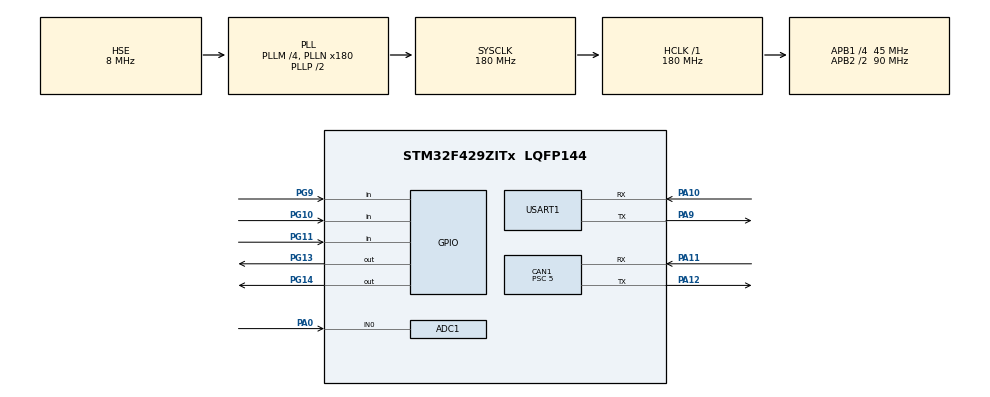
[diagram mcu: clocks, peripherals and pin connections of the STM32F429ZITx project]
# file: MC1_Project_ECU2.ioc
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ADC1.Channel-0\#ChannelRegularConversion=ADC_CHANNEL_0
ADC1.ContinuousConvMode=ENABLE
ADC1.NbrOfConversionFlag=1
ADC1.Rank-0\#ChannelRegularConversion=1
ADC1.SamplingTime-0\#ChannelRegularConversion=ADC_SAMPLETIME_3CYCLES
ADC1.master=1
CAN1.BS1=CAN_BS1_9TQ
CAN1.BS2=CAN_BS2_8TQ
CAN1.CalculateBaudRate=500000
CAN1.CalculateTimeBit=2000
CAN1.CalculateTimeQuantum=111.11111111111111
CAN1.NART=ENABLE
CAN1.Prescaler=5
Mcu.Family=STM32F4
Mcu.Name=STM32F429ZITx
Mcu.Package=LQFP144
NVIC.ADC_IRQn=true\:0\:0\:false\:false\:true\:true\:true\:true
NVIC.CAN1_RX0_IRQn=true\:0\:0\:false\:false\:true\:true\:true\:true
NVIC.CAN1_TX_IRQn=true\:0\:0\:false\:false\:true\:true\:true\:true
NVIC.PriorityGroup=NVIC_PRIORITYGROUP_4
NVIC.TIM4_IRQn=true\:0\:0\:false\:false\:true\:true\:true\:true
PA0/WKUP.Signal=ADCx_IN0
PA10.Mode=Asynchronous
PA10.Signal=USART1_RX
PA11.Mode=CAN_Activate
PA11.Signal=CAN1_RX
PA12.Mode=CAN_Activate
PA12.Signal=CAN1_TX
PA9.Mode=Asynchronous
PA9.Signal=USART1_TX
PG10.Signal=GPIO_Input
PG11.Signal=GPIO_Input
PG13.Signal=GPIO_Output
PG14.Signal=GPIO_Output
PG9.Signal=GPIO_Input
PH0/OSC_IN.Mode=HSE-External-Oscillator
PH0/OSC_IN.Signal=RCC_OSC_IN
PH1/OSC_OUT.Mode=HSE-External-Oscillator
PH1/OSC_OUT.Signal=RCC_OSC_OUT
ProjectManager.HeapSize=0x200
ProjectManager.StackSize=0x400
ProjectManager.TargetToolchain=STM32CubeIDE
RCC.48MHZClocksFreq_Value=90000000
RCC.AHBFreq_Value=180000000
RCC.APB1CLKDivider=RCC_HCLK_DIV4
RCC.APB1Freq_Value=45000000
RCC.APB1TimFreq_Value=90000000
RCC.APB2CLKDivider=RCC_HCLK_DIV2
RCC.APB2Freq_Value=90000000
RCC.APB2TimFreq_Value=180000000
RCC.CortexFreq_Value=180000000
RCC.HCLKFreq_Value=180000000
RCC.HSE_VALUE=8000000
RCC.HSI_VALUE=16000000
RCC.LSE_VALUE=32768
RCC.PLLM=4
RCC.PLLN=180
RCC.PLLSourceVirtual=RCC_PLLSOURCE_HSE
RCC.SYSCLKFreq_VALUE=180000000
RCC.SYSCLKSource=RCC_SYSCLKSOURCE_PLLCLK
RCC.VCOOutputFreq_Value=360000000
RTC.Date=2
RTC.Hours=15
RTC.Minutes=20
RTC.Month=RTC_MONTH_MARCH
RTC.Year=26
SH.ADCx_IN0.0=ADC1_IN0,IN0
TIM4.Period=9000-1
TIM4.Prescaler=10000-1
USART1.VirtualMode=VM_ASYNC
VP_RTC_VS_RTC_Activate.Mode=RTC_Enabled
VP_RTC_VS_RTC_Calendar.Mode=RTC_Calendar
VP_TIM4_VS_ClockSourceINT.Mode=Internal
board=custom

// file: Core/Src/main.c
/* USER CODE BEGIN Header */
/**
 ******************************************************************************
 * @file           : main.c
 * @brief          : Main program body
 ******************************************************************************
 * @attention
 *
 * Copyright (c) 2026 STMicroelectronics.
 * All rights reserved.
 *
 * This software is licensed under terms that can be found in the LICENSE file
 * in the root directory of this software component.
 * If no LICENSE file comes with this software, it is provided AS-IS.
 *
 ******************************************************************************
 */
/* USER CODE END Header */
#include "main.h"

/* USER CODE BEGIN Includes */
#include<stdio.h>
#include<string.h>
#define eng_rpm_id  0x400
#define time_id 0x500
#define gear_id 0x600
uint8_t adc_value;
uint8_t tim_flag;
/* USER CODE END Includes */

/* USER CODE BEGIN PM */
#define STATE  1
/* USER CODE END PM */

ADC_HandleTypeDef hadc1;

CAN_HandleTypeDef hcan1;

RTC_HandleTypeDef hrtc;

TIM_HandleTypeDef htim4;

UART_HandleTypeDef huart1;

void SystemClock_Config(void);
static void MX_GPIO_Init(void);
static void MX_ADC1_Init(void);
static void MX_RTC_Init(void);
static void MX_USART1_UART_Init(void);
static void MX_CAN1_Init(void);
static void MX_TIM4_Init(void);

/* USER CODE BEGIN 0 */
char *gear[] = { "ON", "GN", "G1", "G2", "G3", "G4", "GR", "C_" };
uint8_t gear_pos;
uint8_t gear_ind[50];
uint8_t gear_can[3];
uint8_t time_can[9];
unsigned char read_digital_keypad(unsigned char detection_type) {
	static uint8_t pin1 = 1, pin2 = 1, pin3 = 1, once1 = 1, once2 = 1,
			once3 = 1;
	pin1 = HAL_GPIO_ReadPin(GPIOG, GPIO_PIN_9);
	pin2 = HAL_GPIO_ReadPin(GPIOG, GPIO_PIN_10);
	pin3 = HAL_GPIO_ReadPin(GPIOG, GPIO_PIN_11);
	if (detection_type == STATE) {
		if (pin1 == 0 && once1) {
			once1 = 0;
			return 1;
		} else if (pin1 == 1)
			once1 = 1;
		if (pin2 == 0 && once2) {
			once2 = 0;
			return 2;
		} else if (pin2 == 1)
			once2 = 1;
		if (pin3 == 0 && once3) {
			once3 = 0;
			return 3;
		} else if (pin3 == 1)
			once3 = 1;
		else
			return 0;
	}
}
void gear_fun() {
	uint8_t key = read_digital_keypad(STATE);
	if (key == 1) //gear++
			{
		if (gear_pos == 6 || gear_pos == 7)
			gear_pos = 1;
		if (gear_pos < 6)
			gear_pos++;
	} else if (key == 2) //gear--
			{
		if (gear_pos == 1 || gear_pos == 7)
			gear_pos = 1;
		if (gear_pos > 1)
			gear_pos--;
	} else if (key == 3) //collision
			{
		gear_pos = 7;
	}
//	sprintf(gear_ind, "Gear_Indication : %s\r\n", gear[gear_pos]);
	strcpy(gear_can, gear[gear_pos]);

}
RTC_TimeTypeDef Time;
RTC_DateTypeDef Date;
uint8_t buf[100];
void date() {
	HAL_RTC_GetTime(&hrtc, &Time, RTC_FORMAT_BIN);
//	HAL_RTC_GetDate(&hrtc, &Date, RTC_FORMAT_BIN);
	sprintf(buf, "%01d:%02d:%02d", Time.Hours, Time.Minutes, Time.Seconds);
	strncpy(time_can, buf, 8);
}
CAN_TxHeaderTypeDef TxHeader;
uint32_t TxMailbox;
uint8_t TxData[8], RxData[8];
uint8_t count;
void can_transmitter(uint16_t id, uint8_t *data, uint8_t size) {
	TxHeader.StdId = id;
	TxHeader.IDE = CAN_ID_STD; //use standard ID
	TxHeader.RTR = CAN_RTR_DATA; //sending data
	TxHeader.DLC = size;  //Length is 1 byte
	for (int i = 0; i < size; i++)
		TxData[i] = data[i];
	if(HAL_CAN_AddTxMessage(&hcan1, &TxHeader, TxData, &TxMailbox)==HAL_OK)
		HAL_GPIO_WritePin(GPIOG, GPIO_PIN_14,0);
	else
		HAL_GPIO_WritePin(GPIOG, GPIO_PIN_14,1);

	//HAL_CAN_AddTxMessage(&hcan1, &TxHeader, TxData, &TxMailbox);
}
/* USER CODE END 0 */

int main(void)
{

  /* MCU Configuration--------------------------------------------------------*/

  /* Reset of all peripherals, Initializes the Flash interface and the Systick. */
  HAL_Init();

  /* Configure the system clock */
  SystemClock_Config();

  /* Initialize all configured peripherals */
  MX_GPIO_Init();
  MX_ADC1_Init();
  MX_RTC_Init();
  MX_USART1_UART_Init();
  MX_CAN1_Init();
  MX_TIM4_Init();

  /* Infinite loop */
  /* USER CODE BEGIN WHILE */
//	Time.Hours = 1;
//	Time.Minutes = 11;
//	Time.Seconds = 0;
//	Date.Date = 1;
//	Date.Month = 3;
//	Date.Year = 26;
//	HAL_RTC_SetTime(&hrtc, &Time, RTC_FORMAT_BIN);
//	HAL_RTC_SetDate(&hrtc, &Date, RTC_FORMAT_BIN);

	uint16_t rpm[50];
	HAL_ADC_Start_IT(&hadc1);
	HAL_TIM_Base_Start_IT(&htim4);

	HAL_Delay(10);

	if (HAL_CAN_Start(&hcan1) != HAL_OK) {
		HAL_GPIO_WritePin(GPIOG, GPIO_PIN_14, 1);
	}

	while (1) {
		//for engine rpm
//		sprintf(rpm, "Engine Rpm : %02d\r\n", adc_value);
//		HAL_ADC_Start_IT(&hadc1);

		//gear_ind
		gear_fun();

		//rtc
		date();

//		HAL_UART_Transmit(&huart1, buf, strlen(buf), HAL_MAX_DELAY); //time
//		HAL_UART_Transmit(&huart1, (uint8_t*) gear_ind,
//				(uint16_t) strlen(gear_ind), HAL_MAX_DELAY); //gear
//		HAL_UART_Transmit(&huart1, (uint16_t*) rpm, (uint16_t) strlen(rpm),
//		HAL_MAX_DELAY);

		if (tim_flag) {
			tim_flag = 0;
			// can transmitter
			HAL_GPIO_TogglePin(GPIOG, GPIO_PIN_13);
			can_transmitter(gear_id, gear_can, 2);
			can_transmitter(eng_rpm_id, &adc_value, 1); // engine rpm
			can_transmitter(time_id, time_can, 8);
		}
    /* USER CODE END WHILE */

	}
}

void SystemClock_Config(void)
{
  RCC_OscInitTypeDef RCC_OscInitStruct = {0};
  RCC_ClkInitTypeDef RCC_ClkInitStruct = {0};

  /** Configure the main internal regulator output voltage
  */
  __HAL_RCC_PWR_CLK_ENABLE();
  __HAL_PWR_VOLTAGESCALING_CONFIG(PWR_REGULATOR_VOLTAGE_SCALE1);

  /** Initializes the RCC Oscillators according to the specified parameters
  * in the RCC_OscInitTypeDef structure.
  */
  RCC_OscInitStruct.OscillatorType = RCC_OSCILLATORTYPE_LSI|RCC_OSCILLATORTYPE_HSE;
  RCC_OscInitStruct.HSEState = RCC_HSE_ON;
  RCC_OscInitStruct.LSIState = RCC_LSI_ON;
  RCC_OscInitStruct.PLL.PLLState = RCC_PLL_ON;
  RCC_OscInitStruct.PLL.PLLSource = RCC_PLLSOURCE_HSE;
  RCC_OscInitStruct.PLL.PLLM = 4;
  RCC_OscInitStruct.PLL.PLLN = 180;
  RCC_OscInitStruct.PLL.PLLP = RCC_PLLP_DIV2;
  RCC_OscInitStruct.PLL.PLLQ = 4;
  if (HAL_RCC_OscConfig(&RCC_OscInitStruct) != HAL_OK)
  {
    Error_Handler();
  }

  /** Activate the Over-Drive mode
  */
  if (HAL_PWREx_EnableOverDrive() != HAL_OK)
  {
    Error_Handler();
  }

  /** Initializes the CPU, AHB and APB buses clocks
  */
  RCC_ClkInitStruct.ClockType = RCC_CLOCKTYPE_HCLK|RCC_CLOCKTYPE_SYSCLK
                              |RCC_CLOCKTYPE_PCLK1|RCC_CLOCKTYPE_PCLK2;
  RCC_ClkInitStruct.SYSCLKSource = RCC_SYSCLKSOURCE_PLLCLK;
  RCC_ClkInitStruct.AHBCLKDivider = RCC_SYSCLK_DIV1;
  RCC_ClkInitStruct.APB1CLKDivider = RCC_HCLK_DIV4;
  RCC_ClkInitStruct.APB2CLKDivider = RCC_HCLK_DIV2;

  if (HAL_RCC_ClockConfig(&RCC_ClkInitStruct, FLASH_LATENCY_5) != HAL_OK)
  {
    Error_Handler();
  }
}

static void MX_ADC1_Init(void)
{

  ADC_ChannelConfTypeDef sConfig = {0};

  /** Configure the global features of the ADC (Clock, Resolution, Data Alignment and number of conversion)
  */
  hadc1.Instance = ADC1;
  hadc1.Init.ClockPrescaler = ADC_CLOCK_SYNC_PCLK_DIV4;
  hadc1.Init.Resolution = ADC_RESOLUTION_12B;
  hadc1.Init.ScanConvMode = DISABLE;
  hadc1.Init.ContinuousConvMode = ENABLE;
  hadc1.Init.DiscontinuousConvMode = DISABLE;
  hadc1.Init.ExternalTrigConvEdge = ADC_EXTERNALTRIGCONVEDGE_NONE;
  hadc1.Init.ExternalTrigConv = ADC_SOFTWARE_START;
  hadc1.Init.DataAlign = ADC_DATAALIGN_RIGHT;
  hadc1.Init.NbrOfConversion = 1;
  hadc1.Init.DMAContinuousRequests = DISABLE;
  hadc1.Init.EOCSelection = ADC_EOC_SINGLE_CONV;
  if (HAL_ADC_Init(&hadc1) != HAL_OK)
  {
    Error_Handler();
  }

  /** Configure for the selected ADC regular channel its corresponding rank in the sequencer and its sample time.
  */
  sConfig.Channel = ADC_CHANNEL_0;
  sConfig.Rank = 1;
  sConfig.SamplingTime = ADC_SAMPLETIME_3CYCLES;
  if (HAL_ADC_ConfigChannel(&hadc1, &sConfig) != HAL_OK)
  {
    Error_Handler();
  }

}

static void MX_CAN1_Init(void)
{

  hcan1.Instance = CAN1;
  hcan1.Init.Prescaler = 5;
  hcan1.Init.Mode = CAN_MODE_NORMAL;
  hcan1.Init.SyncJumpWidth = CAN_SJW_1TQ;
  hcan1.Init.TimeSeg1 = CAN_BS1_9TQ;
  hcan1.Init.TimeSeg2 = CAN_BS2_8TQ;
  hcan1.Init.TimeTriggeredMode = DISABLE;
  hcan1.Init.AutoBusOff = DISABLE;
  hcan1.Init.AutoWakeUp = DISABLE;
  hcan1.Init.AutoRetransmission = ENABLE;
  hcan1.Init.ReceiveFifoLocked = DISABLE;
  hcan1.Init.TransmitFifoPriority = DISABLE;
  if (HAL_CAN_Init(&hcan1) != HAL_OK)
  {
    Error_Handler();
  }
  /* USER CODE BEGIN CAN1_Init 2 */
	CAN_FilterTypeDef sFilterConfig;

	sFilterConfig.FilterActivation = ENABLE;
	sFilterConfig.FilterBank = 0;
	sFilterConfig.FilterFIFOAssignment = CAN_FILTER_FIFO0;

	// For a 32-bit filter to accept StdId 0x103:
	// The StdId occupies bits [31:21] of the 32-bit register.
	sFilterConfig.FilterIdHigh = 0x0000;
	sFilterConfig.FilterIdLow = 0x0000;

	// To accept ONLY 0x103, set mask to all 1s in those positions (0x7FF << 5)
	// To accept EVERYTHING for testing, set mask to 0
	sFilterConfig.FilterMaskIdHigh = 0x0000;
	sFilterConfig.FilterMaskIdLow = 0x0000;

	sFilterConfig.FilterMode = CAN_FILTERMODE_IDMASK;
	sFilterConfig.FilterScale = CAN_FILTERSCALE_32BIT;
	sFilterConfig.SlaveStartFilterBank = 14;

	if (HAL_CAN_ConfigFilter(&hcan1, &sFilterConfig) != HAL_OK) {
		Error_Handler();
	}
  /* USER CODE END CAN1_Init 2 */

}

static void MX_RTC_Init(void)
{

  RTC_TimeTypeDef sTime = {0};
  RTC_DateTypeDef sDate = {0};

  /** Initialize RTC Only
  */
  hrtc.Instance = RTC;
  hrtc.Init.HourFormat = RTC_HOURFORMAT_24;
  hrtc.Init.AsynchPrediv = 127;
  hrtc.Init.SynchPrediv = 255;
  hrtc.Init.OutPut = RTC_OUTPUT_DISABLE;
  hrtc.Init.OutPutPolarity = RTC_OUTPUT_POLARITY_HIGH;
  hrtc.Init.OutPutType = RTC_OUTPUT_TYPE_OPENDRAIN;
  if (HAL_RTC_Init(&hrtc) != HAL_OK)
  {
    Error_Handler();
  }

  /** Initialize RTC and set the Time and Date
  */
  sTime.Hours = 0x15;
  sTime.Minutes = 0x20;
  sTime.Seconds = 0x0;
  sTime.DayLightSaving = RTC_DAYLIGHTSAVING_NONE;
  sTime.StoreOperation = RTC_STOREOPERATION_RESET;
  if (HAL_RTC_SetTime(&hrtc, &sTime, RTC_FORMAT_BCD) != HAL_OK)
  {
    Error_Handler();
  }
  sDate.WeekDay = RTC_WEEKDAY_MONDAY;
  sDate.Month = RTC_MONTH_MARCH;
  sDate.Date = 0x2;
  sDate.Year = 0x26;

  if (HAL_RTC_SetDate(&hrtc, &sDate, RTC_FORMAT_BCD) != HAL_OK)
  {
    Error_Handler();
  }

}

static void MX_TIM4_Init(void)
{

  TIM_ClockConfigTypeDef sClockSourceConfig = {0};
  TIM_MasterConfigTypeDef sMasterConfig = {0};

  htim4.Instance = TIM4;
  htim4.Init.Prescaler = 10000-1;
  htim4.Init.CounterMode = TIM_COUNTERMODE_UP;
  htim4.Init.Period = 9000-1;
  htim4.Init.ClockDivision = TIM_CLOCKDIVISION_DIV1;
  htim4.Init.AutoReloadPreload = TIM_AUTORELOAD_PRELOAD_DISABLE;
  if (HAL_TIM_Base_Init(&htim4) != HAL_OK)
  {
    Error_Handler();
  }
  sClockSourceConfig.ClockSource = TIM_CLOCKSOURCE_INTERNAL;
  if (HAL_TIM_ConfigClockSource(&htim4, &sClockSourceConfig) != HAL_OK)
  {
    Error_Handler();
  }
  sMasterConfig.MasterOutputTrigger = TIM_TRGO_RESET;
  sMasterConfig.MasterSlaveMode = TIM_MASTERSLAVEMODE_DISABLE;
  if (HAL_TIMEx_MasterConfigSynchronization(&htim4, &sMasterConfig) != HAL_OK)
  {
    Error_Handler();
  }

}

static void MX_USART1_UART_Init(void)
{

  huart1.Instance = USART1;
  huart1.Init.BaudRate = 115200;
  huart1.Init.WordLength = UART_WORDLENGTH_8B;
  huart1.Init.StopBits = UART_STOPBITS_1;
  huart1.Init.Parity = UART_PARITY_NONE;
  huart1.Init.Mode = UART_MODE_TX_RX;
  huart1.Init.HwFlowCtl = UART_HWCONTROL_NONE;
  huart1.Init.OverSampling = UART_OVERSAMPLING_16;
  if (HAL_UART_Init(&huart1) != HAL_OK)
  {
    Error_Handler();
  }

}

static void MX_GPIO_Init(void)
{
  GPIO_InitTypeDef GPIO_InitStruct = {0};

  /* GPIO Ports Clock Enable */
  __HAL_RCC_GPIOH_CLK_ENABLE();
  __HAL_RCC_GPIOA_CLK_ENABLE();
  __HAL_RCC_GPIOG_CLK_ENABLE();

  /*Configure GPIO pin Output Level */
  HAL_GPIO_WritePin(GPIOG, GPIO_PIN_13|GPIO_PIN_14, GPIO_PIN_RESET);

  /*Configure GPIO pins : PG9 PG10 PG11 */
  GPIO_InitStruct.Pin = GPIO_PIN_9|GPIO_PIN_10|GPIO_PIN_11;
  GPIO_InitStruct.Mode = GPIO_MODE_INPUT;
  GPIO_InitStruct.Pull = GPIO_NOPULL;
  HAL_GPIO_Init(GPIOG, &GPIO_InitStruct);

  /*Configure GPIO pins : PG13 PG14 */
  GPIO_InitStruct.Pin = GPIO_PIN_13|GPIO_PIN_14;
  GPIO_InitStruct.Mode = GPIO_MODE_OUTPUT_PP;
  GPIO_InitStruct.Pull = GPIO_NOPULL;
  GPIO_InitStruct.Speed = GPIO_SPEED_FREQ_LOW;
  HAL_GPIO_Init(GPIOG, &GPIO_InitStruct);

}

void Error_Handler(void)
{
	__disable_irq();
	while (1) {
	}
}
